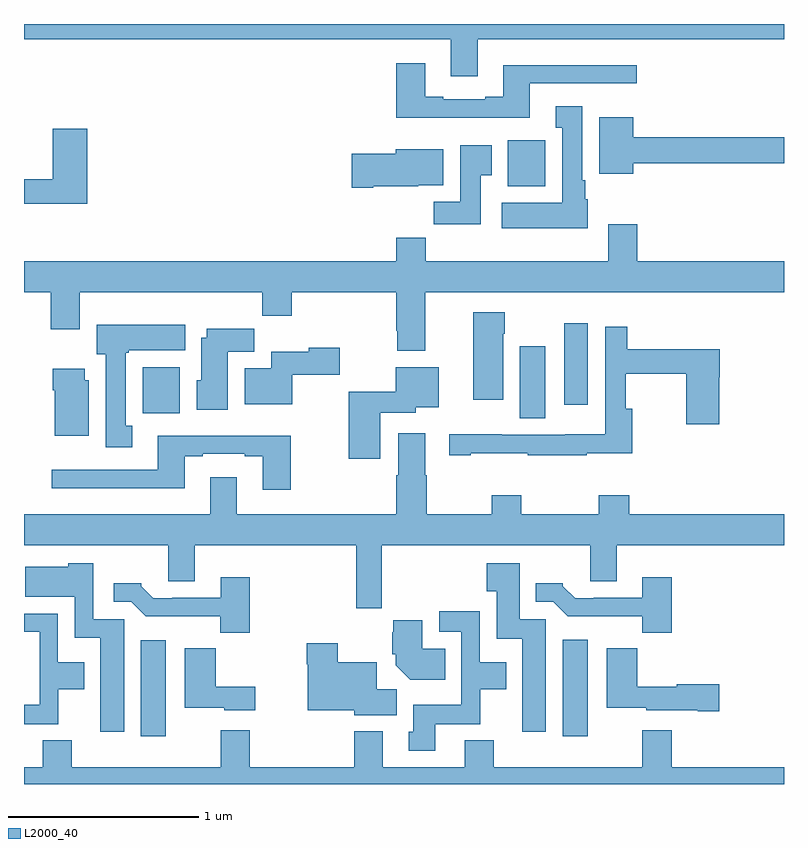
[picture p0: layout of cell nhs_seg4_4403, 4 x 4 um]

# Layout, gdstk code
import gdstk
lib = gdstk.Library(unit=1e-6, precision=1e-09)
def R(c, l, rs):  # rectangles x0, y0, x1, y1
    for r in rs: c.add(gdstk.rectangle(r[:2], r[2:], *l))
def P(c, l, *ps):  # polygons
    for p in ps: c.add(gdstk.Polygon(p, *l))
L2000_40 = (2000, 40)

nhs_seg4_4403 = lib.new_cell('nhs_seg4_4403')
R(nhs_seg4_4403, L2000_40, [(347.615,793.152,347.746,793.657), (349.835,793.152,349.966,793.66), (349.61,794.824,349.744,795.205), (347.624,794.852,347.821,795.094), (349.844,794.895,349.966,795.325), (349.547,796.046,349.744,796.288)])
P(nhs_seg4_4403, L2000_40, [(349.387,796.82),(351,796.82),(351,796.9),(347,796.9),(347,796.82),(349.247,796.82),(349.247,796.626),(349.387,796.626)],
  [(349.663,796.587),(350.224,796.587),(350.224,796.684),(349.523,796.684),(349.523,796.516),(349.427,796.516),(349.427,796.503),(349.207,796.503),(349.207,796.516),(349.111,796.516),(349.111,796.693),(348.959,796.693),(348.959,796.406),(349.663,796.406)],
  [(349.966,795.978),(349.954,795.978),(349.954,796.078),(349.939,796.078),(349.939,796.468),(349.799,796.468),(349.799,796.355),(349.832,796.355),(349.832,795.958),(349.515,795.958),(349.515,795.824),(349.966,795.824)],
  [(350.206,796.168),(351,796.168),(351,796.304),(350.206,796.304),(350.206,796.408),(350.027,796.408),(350.027,796.112),(350.206,796.112)],
  [(347.333,796.348),(347.15,796.348),(347.15,796.082),(347,796.082),(347,795.954),(347.333,795.954)],
  [(349.405,796.105),(349.462,796.105),(349.462,796.261),(349.295,796.261),(349.295,795.964),(349.156,795.964),(349.156,795.846),(349.405,795.846)],
  [(348.838,796.046),(349.074,796.046),(349.074,796.052),(349.207,796.052),(349.207,796.24),(348.956,796.24),(348.956,796.217),(348.726,796.217),(348.726,796.039),(348.838,796.039)],
  [(349.111,795.488),(351,795.488),(351,795.652),(350.228,795.652),(350.228,795.847),(350.075,795.847),(350.075,795.652),(349.115,795.652),(349.115,795.776),(348.959,795.776),(348.959,795.652),(347,795.652),(347,795.488),(347.141,795.488),(347.141,795.294),(347.293,795.294),(347.293,795.488),(348.253,795.488),(348.253,795.364),(348.41,795.364),(348.41,795.488),(348.959,795.488),(348.959,795.286),(348.964,795.286),(348.964,795.179),(349.111,795.179)],
  [(349.522,795.269),(349.53,795.269),(349.53,795.382),(349.364,795.382),(349.364,794.922),(349.522,794.922)],
  [(347.569,794.786),(347.536,794.786),(347.536,795.169),(347.55,795.169),(347.55,795.182),(347.848,795.182),(347.848,795.316),(347.384,795.316),(347.384,795.162),(347.429,795.162),(347.429,794.673),(347.569,794.673)],
  [(349.351,794.641),(349.651,794.641),(349.651,794.631),(349.961,794.631),(349.961,794.641),(350.201,794.641),(350.201,794.875),(350.167,794.875),(350.167,795.058),(350.485,795.058),(350.485,794.793),(350.658,794.793),(350.658,795.041),(350.663,795.041),(350.663,795.187),(350.174,795.187),(350.174,795.307),(350.058,795.307),(350.058,794.74),(349.848,794.74),(349.848,794.739),(349.514,794.739),(349.514,794.741),(349.239,794.741),(349.239,794.631),(349.351,794.631)],
  [(348.073,795.176),(348.212,795.176),(348.212,795.295),(347.963,795.295),(347.963,795.25),(347.933,795.25),(347.933,795.024),(347.909,795.024),(347.909,794.87),(348.073,794.87)],
  [(348.412,795.053),(348.661,795.053),(348.661,795.195),(348.498,795.195),(348.498,795.175),(348.302,795.175),(348.302,795.088),(348.161,795.088),(348.161,794.9),(348.412,794.9)],
  [(348.874,794.855),(349.062,794.855),(349.062,794.882),(349.183,794.882),(349.183,795.094),(348.956,795.094),(348.956,794.965),(348.709,794.965),(348.709,794.613),(348.874,794.613)],
  [(347.341,795.024),(347.32,795.024),(347.32,795.085),(347.15,795.085),(347.15,794.972),(347.162,794.972),(347.162,794.732),(347.341,794.732)],
  [(348.884,794.156),(349.979,794.156),(349.979,793.966),(350.119,793.966),(350.119,794.156),(351,794.156),(351,794.32),(350.186,794.32),(350.186,794.419),(350.026,794.419),(350.026,794.32),(349.617,794.32),(349.617,794.419),(349.462,794.419),(349.462,794.32),(349.119,794.32),(349.119,794.525),(349.111,794.525),(349.111,794.746),(348.971,794.746),(348.971,794.525),(348.959,794.525),(348.959,794.32),(348.121,794.32),(348.121,794.515),(347.981,794.515),(347.981,794.32),(347,794.32),(347,794.156),(347.759,794.156),(347.759,793.966),(347.899,793.966),(347.899,794.156),(348.748,794.156),(348.748,793.824),(348.884,793.824)],
  [(348.405,794.734),(347.705,794.734),(347.705,794.553),(347.145,794.553),(347.145,794.456),(347.845,794.456),(347.845,794.625),(347.941,794.625),(347.941,794.637),(348.161,794.637),(348.161,794.625),(348.257,794.625),(348.257,794.448),(348.405,794.448)],
  [(349.747,793.767),(349.609,793.767),(349.609,794.062),(349.436,794.062),(349.436,793.915),(349.487,793.915),(349.487,793.664),(349.622,793.664),(349.622,793.176),(349.747,793.176)],
  [(347.527,793.767),(347.364,793.767),(347.364,794.062),(347.232,794.062),(347.232,794.044),(347.007,794.044),(347.007,793.886),(347.268,793.886),(347.268,793.67),(347.402,793.67),(347.402,793.176),(347.527,793.176)],
  [(350.408,793.987),(350.255,793.987),(350.255,793.881),(349.999,793.881),(349.999,793.878),(349.9,793.878),(349.836,793.942),(349.836,793.957),(349.694,793.957),(349.694,793.86),(349.785,793.86),(349.861,793.784),(350.253,793.784),(350.253,793.697),(350.408,793.697)],
  [(348.188,793.987),(348.035,793.987),(348.035,793.881),(347.779,793.881),(347.779,793.878),(347.68,793.878),(347.616,793.942),(347.616,793.957),(347.472,793.957),(347.472,793.86),(347.565,793.86),(347.641,793.784),(348.033,793.784),(348.033,793.697),(348.188,793.697)],
  [(349.165,793.214),(349.401,793.214),(349.401,793.4),(349.537,793.4),(349.537,793.54),(349.398,793.54),(349.398,793.81),(349.185,793.81),(349.185,793.701),(349.302,793.701),(349.302,793.318),(349.049,793.318),(349.049,793.176),(349.025,793.176),(349.025,793.074),(349.165,793.074)],
  [(347.181,793.4),(347.317,793.4),(347.317,793.54),(347.178,793.54),(347.178,793.797),(347,793.797),(347,793.701),(347.082,793.701),(347.082,793.318),(347,793.318),(347,793.214),(347.181,793.214)],
  [(349.217,793.612),(349.096,793.612),(349.096,793.762),(348.944,793.762),(348.944,793.698),(348.938,793.698),(348.938,793.584),(348.956,793.584),(348.956,793.526),(349.034,793.448),(349.217,793.448)],
  [(348.961,793.4),(348.856,793.4),(348.856,793.54),(348.652,793.54),(348.652,793.642),(348.487,793.642),(348.487,793.529),(348.494,793.529),(348.494,793.289),(348.738,793.289),(348.738,793.262),(348.961,793.262)],
  [(348.217,793.411),(348.008,793.411),(348.008,793.615),(347.846,793.615),(347.846,793.301),(348.054,793.301),(348.054,793.289),(348.217,793.289)],
  [(350.659,793.424),(350.436,793.424),(350.436,793.411),(350.228,793.411),(350.228,793.615),(350.066,793.615),(350.066,793.301),(350.274,793.301),(350.274,793.289),(350.546,793.289),(350.546,793.282),(350.659,793.282)],
  [(351,792.988),(350.408,792.988),(350.408,793.183),(350.255,793.183),(350.255,792.988),(349.472,792.988),(349.472,793.129),(349.319,793.129),(349.319,792.988),(348.889,792.988),(348.889,793.177),(348.737,793.177),(348.737,792.988),(348.188,792.988),(348.188,793.183),(348.035,793.183),(348.035,792.988),(347.252,792.988),(347.252,793.129),(347.099,793.129),(347.099,792.988),(347,792.988),(347,792.9),(351,792.9)])

lib.write_gds('nhs_seg4_4403.gds')
